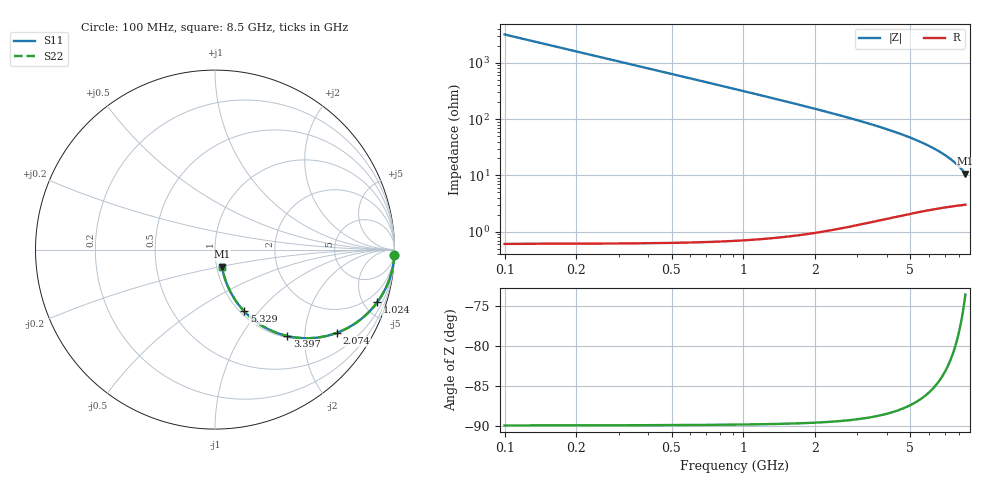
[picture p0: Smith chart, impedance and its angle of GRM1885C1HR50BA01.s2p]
!Murata Part Number: GRM1885C1HR50BA01
!These Parameters are Measured in Series Mode Connection
!Data Generated on Mar 30, 2021
!  o--ll--o
!Port1  Port2
!  o------o
!Operation Temp=25[degC], DC Bias Voltage=0[V]
!Freq. Start=100[MHz] Stop=9[GHz] 401[Steps]
# Hz S RI R 50
!Freq.(Hz) S11(Real) S11(Imag) S21(Real) S21(Imag) S12(Real) S12(Imag) S22(Real) S22(Imag)
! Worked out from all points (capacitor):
!   401 points, 100 MHz to 8.5 GHz, reference 50 ohm
!   read as one part in series: C = 500 fF near 142 MHz
!   lowest |Z| = 10.7 ohm at 8.5 GHz (marker M1)
!   S11 on the Smith chart (normalised r, x): 100 MHz: 1, -64; 1.024 GHz: 1.01, -6.14; 2.074 GHz: 1.02, -2.92; 3.397 GHz: 1.03, -1.64; 5.329 GHz: 1.04, -0.84; 8.5 GHz: 1.06, -0.21
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1e8  0.999 -0.0314  0.000992 0.0314  0.000992 0.0314  0.999 -0.0314
1.42e8  0.998 -0.0445  0.002 0.0445  0.002 0.0445  0.998 -0.0445
1.84e8  0.9966 -0.0576  0.00335 0.0576  0.00335 0.0576  0.9966 -0.0576
2.47e8  0.994 -0.0772  0.00603 0.0772  0.00603 0.0772  0.994 -0.0772
3.31e8  0.9892 -0.103  0.0108 0.103  0.0108 0.103  0.9892 -0.103
4.15e8  0.9831 -0.1284  0.0169 0.1284  0.0169 0.1284  0.9831 -0.1284
5.41e8  0.9716 -0.1656  0.0284 0.1656  0.0284 0.1656  0.9716 -0.1656
6.67e8  0.9573 -0.2015  0.0427 0.2015  0.0427 0.2015  0.9573 -0.2015
8.35e8  0.9343 -0.2469  0.0657 0.2469  0.0657 0.2469  0.9343 -0.2469
1.024e9  0.9036 -0.2939  0.0964 0.2939  0.0964 0.2939  0.9036 -0.2939
1.255e9  0.8605 -0.345  0.1395 0.345  0.1395 0.345  0.8605 -0.345
1.507e9  0.8081 -0.3918  0.1919 0.3918  0.1919 0.3918  0.8081 -0.3918
2.074e9  0.68 -0.4631  0.32 0.4631  0.32 0.4631  0.68 -0.4631
2.473e9  0.5894 -0.4873  0.4106 0.4873  0.4106 0.4873  0.5894 -0.4873
2.914e9  0.4954 -0.4936  0.5046 0.4936  0.5046 0.4936  0.4954 -0.4936
3.397e9  0.4035 -0.4817  0.5965 0.4817  0.5965 0.4817  0.4035 -0.4817
4.3e9  0.2672 -0.4274  0.7328 0.4274  0.7328 0.4274  0.2672 -0.4274
5.329e9  0.1625 -0.3436  0.8375 0.3436  0.8375 0.3436  0.1625 -0.3436
5.707e9  0.1348 -0.3114  0.8652 0.3114  0.8652 0.3114  0.1348 -0.3114
7.114e9  0.0679 -0.1962  0.9321 0.1962  0.9321 0.1962  0.0679 -0.1962
7.828e9  0.0496 -0.1428  0.9504 0.1428  0.9504 0.1428  0.0496 -0.1428
8.5e9  0.0389 -0.096  0.9611 0.096  0.9611 0.096  0.0389 -0.096
